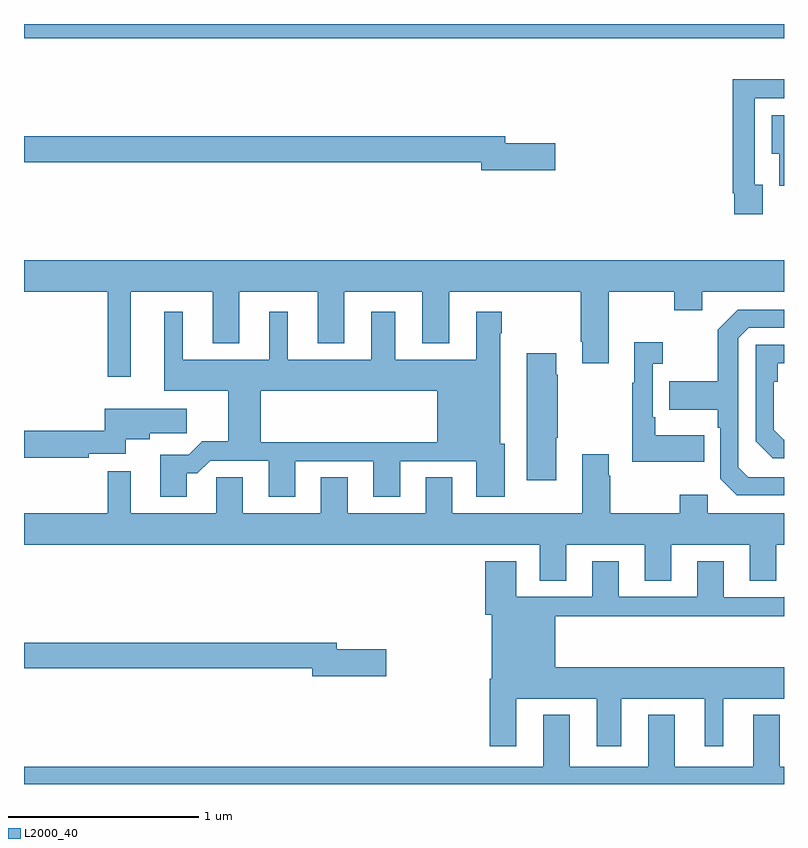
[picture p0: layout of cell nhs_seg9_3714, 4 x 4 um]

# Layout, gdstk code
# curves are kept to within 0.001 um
import gdstk
lib = gdstk.Library(unit=1e-6, precision=1e-09)
def R(c, l, rs):  # rectangles x0, y0, x1, y1
    for r in rs: c.add(gdstk.rectangle(r[:2], r[2:], *l))
def P(c, l, *ps):  # polygons
    for p in ps: c.add(gdstk.Polygon(p, *l))
L2000_40 = (2000, 40)

nhs_seg9_3714 = lib.new_cell('nhs_seg9_3714')
R(nhs_seg9_3714, L2000_40, [(323,1192.424,327,1192.5)])
P(nhs_seg9_3714, L2000_40, [(326.887,1191.654),(326.847,1191.654),(326.847,1192.11),(327,1192.11),(327,1192.208),(326.731,1192.208),(326.731,1191.61),(326.739,1191.61),(326.739,1191.498),(326.887,1191.498)],
  [(327,1192.021),(326.936,1192.021),(326.936,1191.818),(326.975,1191.818),(326.975,1191.65),(327,1191.65)],
  [(325.795,1191.872),(325.534,1191.872),(325.534,1191.908),(323,1191.908),(323,1191.772),(325.406,1191.772),(325.406,1191.73),(325.795,1191.73)],
  [(323.563,1191.092),(323.993,1191.092),(323.993,1190.819),(324.133,1190.819),(324.133,1191.092),(324.545,1191.092),(324.545,1190.819),(324.685,1190.819),(324.685,1191.092),(325.097,1191.092),(325.097,1190.819),(325.237,1190.819),(325.237,1191.092),(325.93,1191.092),(325.93,1190.827),(325.937,1190.827),(325.937,1190.715),(326.077,1190.715),(326.077,1191.092),(326.422,1191.092),(326.422,1190.993),(326.569,1190.993),(326.569,1191.092),(327,1191.092),(327,1191.256),(323,1191.256),(323,1191.092),(323.442,1191.092),(323.442,1190.643),(323.563,1190.643)],
  [(327,1190.115),(326.811,1190.115),(326.76,1190.166),(326.76,1190.847),(326.814,1190.901),(327,1190.901),(327,1190.997),(326.757,1190.997),(326.652,1190.891),(326.652,1190.619),(326.395,1190.619),(326.395,1190.471),(326.652,1190.471),(326.652,1190.375),(326.664,1190.375),(326.664,1190.106),(326.751,1190.019),(327,1190.019)],
  [(323.717,1190.233),(323.717,1190.013),(323.857,1190.013),(323.857,1190.135),(323.912,1190.135),(323.979,1190.202),(324.287,1190.202),(324.287,1190.013),(324.427,1190.013),(324.427,1190.199),(324.839,1190.199),(324.839,1190.013),(324.979,1190.013),(324.979,1190.199),(325.379,1190.199),(325.379,1190.013),(325.531,1190.013),(325.531,1190.292),(325.507,1190.292),(325.507,1190.873),(325.515,1190.873),(325.515,1190.986),(325.379,1190.986),(325.379,1190.734),(324.955,1190.734),(324.955,1190.986),(324.827,1190.986),(324.827,1190.734),(324.388,1190.734),(324.388,1190.986),(324.29,1190.986),(324.29,1190.734),(323.836,1190.734),(323.836,1190.986),(323.738,1190.986),(323.738,1190.57),(324.074,1190.57),(324.074,1190.303),(323.936,1190.303),(323.933,1190.3),(324.245,1190.3),(324.245,1190.57),(325.175,1190.57),(325.175,1190.3),(323.933,1190.3),(323.866,1190.233)],
  [(326.579,1190.335),(326.323,1190.335),(326.323,1190.431),(326.31,1190.431),(326.31,1190.711),(326.362,1190.711),(326.362,1190.824),(326.213,1190.824),(326.213,1190.611),(326.202,1190.611),(326.202,1190.195),(326.579,1190.195)],
  [(327,1190.311),(326.999,1190.311),(326.946,1190.364),(326.946,1190.618),(326.966,1190.618),(326.966,1190.715),(327,1190.715),(327,1190.811),(326.85,1190.811),(326.85,1190.304),(326.94,1190.214),(327,1190.214)],
  [(325.801,1190.323),(325.809,1190.323),(325.809,1190.654),(325.801,1190.654),(325.801,1190.767),(325.646,1190.767),(325.646,1190.1),(325.801,1190.1)],
  [(323.34,1190.237),(323.536,1190.237),(323.536,1190.315),(323.662,1190.315),(323.662,1190.347),(323.857,1190.347),(323.857,1190.476),(323.426,1190.476),(323.426,1190.36),(323,1190.36),(323,1190.218),(323.34,1190.218)],
  [(325.855,1189.76),(326.267,1189.76),(326.267,1189.57),(326.407,1189.57),(326.407,1189.76),(326.819,1189.76),(326.819,1189.57),(326.958,1189.57),(326.958,1189.76),(327,1189.76),(327,1189.924),(326.598,1189.924),(326.598,1190.023),(326.452,1190.023),(326.452,1189.924),(326.085,1189.924),(326.085,1190.123),(326.077,1190.123),(326.077,1190.236),(325.937,1190.236),(325.937,1189.924),(325.255,1189.924),(325.255,1190.114),(325.115,1190.114),(325.115,1189.924),(324.703,1189.924),(324.703,1190.114),(324.563,1190.114),(324.563,1189.924),(324.151,1189.924),(324.151,1190.114),(324.012,1190.114),(324.012,1189.924),(323.563,1189.924),(323.563,1190.146),(323.442,1190.146),(323.442,1189.924),(323,1189.924),(323,1189.76),(325.715,1189.76),(325.715,1189.57),(325.855,1189.57)],
  [(325.591,1188.95),(326.015,1188.95),(326.015,1188.699),(326.143,1188.699),(326.143,1188.95),(326.582,1188.95),(326.582,1188.699),(326.68,1188.699),(326.68,1188.95),(327,1188.95),(327,1189.114),(325.795,1189.114),(325.795,1189.384),(326.779,1189.384),(326.779,1189.382),(327,1189.382),(327,1189.485),(326.997,1189.482),(326.683,1189.482),(326.683,1189.672),(326.543,1189.672),(326.543,1189.485),(326.131,1189.485),(326.131,1189.672),(325.991,1189.672),(325.991,1189.485),(325.591,1189.485),(325.591,1189.672),(325.427,1189.672),(325.427,1189.392),(325.463,1189.392),(325.463,1189.054),(325.451,1189.054),(325.451,1188.699),(325.591,1188.699)],
  [(324.907,1189.208),(324.646,1189.208),(324.646,1189.244),(323,1189.244),(323,1189.108),(324.518,1189.108),(324.518,1189.066),(324.907,1189.066)],
  [(327,1188.592),(326.977,1188.592),(326.977,1188.865),(326.837,1188.865),(326.837,1188.592),(326.425,1188.592),(326.425,1188.865),(326.285,1188.865),(326.285,1188.592),(325.873,1188.592),(325.873,1188.865),(325.733,1188.865),(325.733,1188.592),(323,1188.592),(323,1188.5),(327,1188.5)])

lib.write_gds('nhs_seg9_3714.gds')
